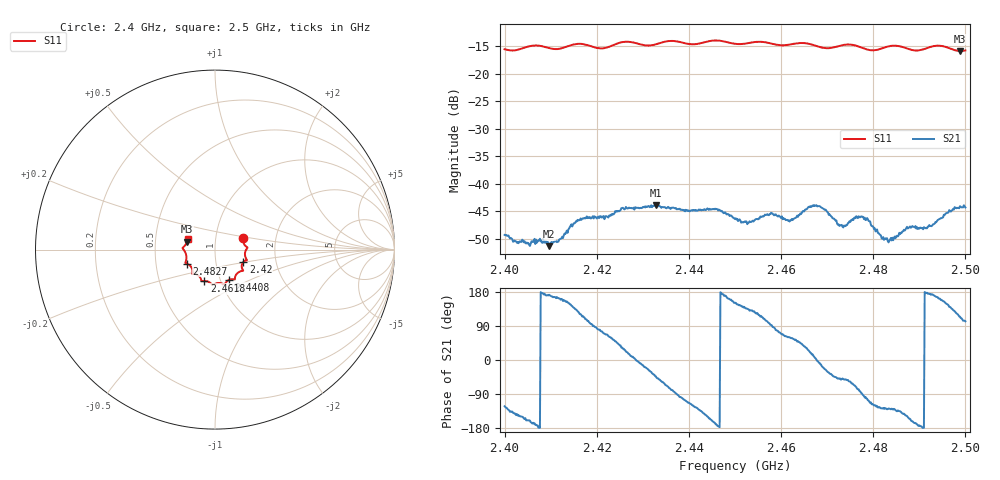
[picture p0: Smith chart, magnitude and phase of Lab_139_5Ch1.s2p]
# Hz S RI R 50
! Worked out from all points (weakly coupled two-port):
!   601 points, 2.4 GHz to 2.5 GHz, reference 50 ohm
!   highest |S21| = -43.83 dB at 2.4328 GHz (marker M1); lowest = -51.3 dB at 2.4097 GHz (marker M2)
!   lowest |S11| = -15.8 dB at 2.4988 GHz (marker M3), VSWR 1.38, Z = 36.4 + j3.34 ohm
!   |S11| at or under -10 dB: start of sweep to end of sweep
!   S12 and S22 are empty: the file has one direction only
!   S11 on the Smith chart (normalised r, x): 2.4 GHz: 1.36, +0.17; 2.42 GHz: 1.36, -0.19; 2.4408 GHz: 1.10, -0.38; 2.4618 GHz: 0.84, -0.30; 2.4827 GHz: 0.72, -0.12; 2.5 GHz: 0.73, +0.09
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2.4e9  0.156 0.0621  -0.00182 -0.00291  0 0  0 0
2.409667e9  0.1718 -0.00303  -0.00268 0.000376  0 0  0 0
2.416667e9  0.1781 -0.0594  -0.00226 0.00414  0 0  0 0
2.42e9  0.1581 -0.0693  0.000504 0.00482  0 0  0 0
2.432833e9  0.1134 -0.1477  0.00468 -0.00442  0 0  0 0
2.433333e9  0.1119 -0.1521  0.00414 -0.00468  0 0  0 0
2.440833e9  0.0789 -0.1687  -0.00282 -0.00496  0 0  0 0
2.446e9  0.0516 -0.1949  -0.00584 -0.001  0 0  0 0
2.45e9  0.0278 -0.1861  -0.00418 0.00231  0 0  0 0
2.453167e9  -0.00236 -0.1919  -0.00295 0.00349  0 0  0 0
2.458e9  -0.0239 -0.1868  -0.000114 0.00539  0 0  0 0
2.461833e9  -0.0599 -0.1751  0.0023 0.00392  0 0  0 0
2.466667e9  -0.0769 -0.1686  0.00602 0.00159  0 0  0 0
2.469333e9  -0.0892 -0.1474  0.00546 -0.00221  0 0  0 0
2.473e9  -0.1211 -0.135  0.00259 -0.00331  0 0  0 0
2.477667e9  -0.1255 -0.1185  -8.08e-05 -0.00501  0 0  0 0
2.482667e9  -0.1571 -0.0777  -0.00199 -0.0025  0 0  0 0
2.483333e9  -0.1611 -0.0763  -0.00181 -0.00232  0 0  0 0
2.4875e9  -0.1601 -0.0555  -0.00343 -0.00192  0 0  0 0
2.492833e9  -0.1778 0.00379  -0.00418 0.000481  0 0  0 0
2.498833e9  -0.1551 0.0447  -0.00257 0.00571  0 0  0 0
2.5e9  -0.1518 0.0615  -0.00128 0.00596  0 0  0 0
